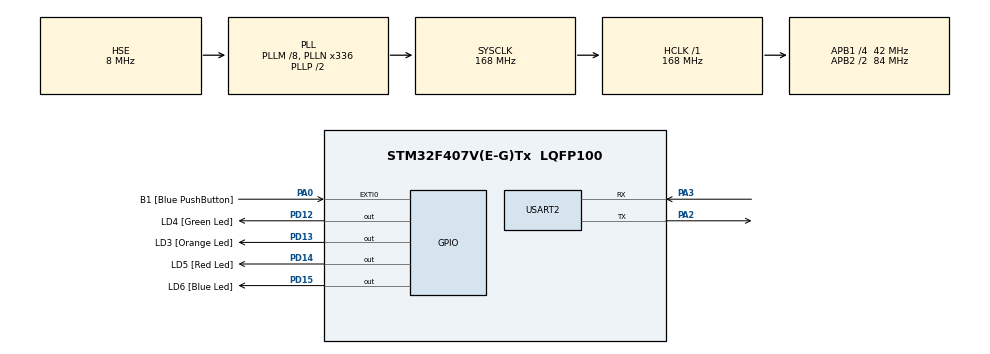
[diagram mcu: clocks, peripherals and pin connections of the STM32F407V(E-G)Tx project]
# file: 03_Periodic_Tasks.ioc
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FREERTOS.Tasks01=defaultTask,24,128,StartDefaultTask,Default,NULL,Dynamic,NULL,NULL
FREERTOS.configCHECK_FOR_STACK_OVERFLOW=2
FREERTOS.configTOTAL_HEAP_SIZE=32768
FREERTOS.configUSE_IDLE_HOOK=0
FREERTOS.configUSE_MALLOC_FAILED_HOOK=1
FREERTOS.configUSE_TICK_HOOK=0
FREERTOS.configUSE_TRACE_FACILITY=1
Mcu.Family=STM32F4
Mcu.Name=STM32F407V(E-G)Tx
Mcu.Package=LQFP100
NVIC.PriorityGroup=NVIC_PRIORITYGROUP_4
NVIC.TIM6_DAC_IRQn=true\:15\:0\:false\:false\:true\:false\:false\:true\:true
NVIC.TimeBase=TIM6_DAC_IRQn
NVIC.TimeBaseIP=TIM6
PA0-WKUP.GPIO_Label=B1 [Blue PushButton]
PA0-WKUP.GPIO_ModeDefaultEXTI=GPIO_MODE_EVT_RISING
PA0-WKUP.GPIO_PuPd=GPIO_NOPULL
PA0-WKUP.Signal=GPXTI0
PA13.GPIO_Label=SWDIO
PA13.Mode=Serial_Wire
PA13.Signal=SYS_JTMS-SWDIO
PA14.GPIO_Label=SWCLK
PA14.Mode=Serial_Wire
PA14.Signal=SYS_JTCK-SWCLK
PA2.Mode=Asynchronous
PA2.Signal=USART2_TX
PA3.Mode=Asynchronous
PA3.Signal=USART2_RX
PB3.GPIO_Label=SWO
PB3.Signal=SYS_JTDO-SWO
PC14-OSC32_IN.GPIO_Label=PC14-OSC32_IN
PC14-OSC32_IN.Mode=LSE-External-Oscillator
PC14-OSC32_IN.Signal=RCC_OSC32_IN
PC15-OSC32_OUT.GPIO_Label=PC15-OSC32_OUT
PC15-OSC32_OUT.Mode=LSE-External-Oscillator
PC15-OSC32_OUT.Signal=RCC_OSC32_OUT
PD12.GPIO_Label=LD4 [Green Led]
PD12.GPIO_PuPd=GPIO_NOPULL
PD12.GPIO_Speed=GPIO_SPEED_FREQ_LOW
PD12.Signal=GPIO_Output
PD13.GPIO_Label=LD3 [Orange Led]
PD13.GPIO_PuPd=GPIO_NOPULL
PD13.GPIO_Speed=GPIO_SPEED_FREQ_LOW
PD13.Signal=GPIO_Output
PD14.GPIO_Label=LD5 [Red Led]
PD14.GPIO_PuPd=GPIO_NOPULL
PD14.GPIO_Speed=GPIO_SPEED_FREQ_LOW
PD14.Signal=GPIO_Output
PD15.GPIO_Label=LD6 [Blue Led]
PD15.GPIO_PuPd=GPIO_NOPULL
PD15.GPIO_Speed=GPIO_SPEED_FREQ_LOW
PD15.Signal=GPIO_Output
PH0-OSC_IN.GPIO_Label=PH0-OSC_IN
PH0-OSC_IN.Mode=HSE-External-Oscillator
PH0-OSC_IN.Signal=RCC_OSC_IN
PH1-OSC_OUT.GPIO_Label=PH1-OSC_OUT
PH1-OSC_OUT.Mode=HSE-External-Oscillator
PH1-OSC_OUT.Signal=RCC_OSC_OUT
ProjectManager.HeapSize=0x200
ProjectManager.StackSize=0x400
ProjectManager.TargetToolchain=STM32CubeIDE
RCC.48MHZClocksFreq_Value=48000000
RCC.AHBFreq_Value=168000000
RCC.APB1CLKDivider=RCC_HCLK_DIV4
RCC.APB1Freq_Value=42000000
RCC.APB1TimFreq_Value=84000000
RCC.APB2CLKDivider=RCC_HCLK_DIV2
RCC.APB2Freq_Value=84000000
RCC.APB2TimFreq_Value=168000000
RCC.CortexFreq_Value=168000000
RCC.HCLKFreq_Value=168000000
RCC.HSE_VALUE=8000000
RCC.HSI_VALUE=16000000
RCC.PLLM=8
RCC.PLLN=336
RCC.PLLQ=7
RCC.PLLSourceVirtual=RCC_PLLSOURCE_HSE
RCC.SYSCLKFreq_VALUE=168000000
RCC.SYSCLKSource=RCC_SYSCLKSOURCE_PLLCLK
RCC.VCOOutputFreq_Value=336000000
USART2.VirtualMode=VM_ASYNC
VP_FREERTOS_VS_CMSIS_V2.Mode=CMSIS_V2
VP_SYS_VS_tim6.Mode=TIM6
board=STM32F407G-DISC1

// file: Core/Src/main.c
/* USER CODE BEGIN Header */
/**
  ******************************************************************************
  * @file           : main.c
  * @brief          : Main program body
  ******************************************************************************
  * @attention
  *
  * Copyright (c) 2026 STMicroelectronics.
  * All rights reserved.
  *
  * This software is licensed under terms that can be found in the LICENSE file
  * in the root directory of this software component.
  * If no LICENSE file comes with this software, it is provided AS-IS.
  *
  ******************************************************************************
  */
/* USER CODE END Header */
#include "main.h"

/* USER CODE BEGIN Includes */
#include "FreeRTOS.h"
#include "task.h"
/* USER CODE END Includes */

UART_HandleTypeDef huart2;

void SystemClock_Config(void);
static void MX_GPIO_Init(void);
static void MX_USART2_UART_Init(void);

/* USER CODE BEGIN PFP */
static void GreenLedTask(void *argument);
static void BlueLedTask(void *argument);
/* USER CODE END PFP */

int main(void)
{

  /* MCU Configuration--------------------------------------------------------*/

  /* Reset of all peripherals, Initializes the Flash interface and the Systick. */
  HAL_Init();

  /* Configure the system clock */
  SystemClock_Config();

  /* Initialize all configured peripherals */
  MX_GPIO_Init();
  MX_USART2_UART_Init();

  /* Create RTOS tasks */
  xTaskCreate(GreenLedTask, "GreenLED", 128, NULL, 2, NULL);

  xTaskCreate(BlueLedTask, "BlueLED", 128, NULL, 2, NULL);

  /* Start FreeRTOS scheduler */
  vTaskStartScheduler();

  /* We should never get here as control is now taken by the scheduler */

  /* Infinite loop */
  while (1)
  {

  }
}

void SystemClock_Config(void)
{
  RCC_OscInitTypeDef RCC_OscInitStruct = {0};
  RCC_ClkInitTypeDef RCC_ClkInitStruct = {0};

  /** Configure the main internal regulator output voltage
  */
  __HAL_RCC_PWR_CLK_ENABLE();
  __HAL_PWR_VOLTAGESCALING_CONFIG(PWR_REGULATOR_VOLTAGE_SCALE1);

  /** Initializes the RCC Oscillators according to the specified parameters
  * in the RCC_OscInitTypeDef structure.
  */
  RCC_OscInitStruct.OscillatorType = RCC_OSCILLATORTYPE_HSE;
  RCC_OscInitStruct.HSEState = RCC_HSE_ON;
  RCC_OscInitStruct.PLL.PLLState = RCC_PLL_ON;
  RCC_OscInitStruct.PLL.PLLSource = RCC_PLLSOURCE_HSE;
  RCC_OscInitStruct.PLL.PLLM = 8;
  RCC_OscInitStruct.PLL.PLLN = 336;
  RCC_OscInitStruct.PLL.PLLP = RCC_PLLP_DIV2;
  RCC_OscInitStruct.PLL.PLLQ = 7;
  if (HAL_RCC_OscConfig(&RCC_OscInitStruct) != HAL_OK)
  {
    Error_Handler();
  }

  /** Initializes the CPU, AHB and APB buses clocks
  */
  RCC_ClkInitStruct.ClockType = RCC_CLOCKTYPE_HCLK|RCC_CLOCKTYPE_SYSCLK
                              |RCC_CLOCKTYPE_PCLK1|RCC_CLOCKTYPE_PCLK2;
  RCC_ClkInitStruct.SYSCLKSource = RCC_SYSCLKSOURCE_PLLCLK;
  RCC_ClkInitStruct.AHBCLKDivider = RCC_SYSCLK_DIV1;
  RCC_ClkInitStruct.APB1CLKDivider = RCC_HCLK_DIV4;
  RCC_ClkInitStruct.APB2CLKDivider = RCC_HCLK_DIV2;

  if (HAL_RCC_ClockConfig(&RCC_ClkInitStruct, FLASH_LATENCY_5) != HAL_OK)
  {
    Error_Handler();
  }
}

static void MX_USART2_UART_Init(void)
{

  huart2.Instance = USART2;
  huart2.Init.BaudRate = 115200;
  huart2.Init.WordLength = UART_WORDLENGTH_8B;
  huart2.Init.StopBits = UART_STOPBITS_1;
  huart2.Init.Parity = UART_PARITY_NONE;
  huart2.Init.Mode = UART_MODE_TX_RX;
  huart2.Init.HwFlowCtl = UART_HWCONTROL_NONE;
  huart2.Init.OverSampling = UART_OVERSAMPLING_16;
  if (HAL_UART_Init(&huart2) != HAL_OK)
  {
    Error_Handler();
  }

}

static void MX_GPIO_Init(void)
{
  GPIO_InitTypeDef GPIO_InitStruct = {0};

  /* GPIO Ports Clock Enable */
  __HAL_RCC_GPIOC_CLK_ENABLE();
  __HAL_RCC_GPIOH_CLK_ENABLE();
  __HAL_RCC_GPIOA_CLK_ENABLE();
  __HAL_RCC_GPIOD_CLK_ENABLE();
  __HAL_RCC_GPIOB_CLK_ENABLE();

  /*Configure GPIO pin Output Level */
  HAL_GPIO_WritePin(GPIOD, LD4_Pin|LD3_Pin|LD5_Pin|LD6_Pin, GPIO_PIN_RESET);

  /*Configure GPIO pin : B1_Pin */
  GPIO_InitStruct.Pin = B1_Pin;
  GPIO_InitStruct.Mode = GPIO_MODE_EVT_RISING;
  GPIO_InitStruct.Pull = GPIO_NOPULL;
  HAL_GPIO_Init(B1_GPIO_Port, &GPIO_InitStruct);

  /*Configure GPIO pins : LD4_Pin LD3_Pin LD5_Pin LD6_Pin */
  GPIO_InitStruct.Pin = LD4_Pin|LD3_Pin|LD5_Pin|LD6_Pin;
  GPIO_InitStruct.Mode = GPIO_MODE_OUTPUT_PP;
  GPIO_InitStruct.Pull = GPIO_NOPULL;
  GPIO_InitStruct.Speed = GPIO_SPEED_FREQ_LOW;
  HAL_GPIO_Init(GPIOD, &GPIO_InitStruct);

}

/* USER CODE BEGIN 4 */
static void GreenLedTask(void *argument)
{
    TickType_t xLastWakeTime;
    const TickType_t xPeriod = pdMS_TO_TICKS(500);

    xLastWakeTime = xTaskGetTickCount();

    for (;;)
    {
        HAL_GPIO_TogglePin(GPIOD, LD4_Pin);

        vTaskDelayUntil(&xLastWakeTime, xPeriod);
    }
}

static void BlueLedTask(void *argument)
{
    TickType_t xLastWakeTime;
    const TickType_t xPeriod = pdMS_TO_TICKS(1000);

    xLastWakeTime = xTaskGetTickCount();

    for (;;)
    {
        HAL_GPIO_TogglePin(GPIOD, LD6_Pin);

        vTaskDelayUntil(&xLastWakeTime, xPeriod);
    }
}
/* USER CODE END 4 */

void HAL_TIM_PeriodElapsedCallback(TIM_HandleTypeDef *htim)
{
  if (htim->Instance == TIM6)
  {
    HAL_IncTick();
  }
}

void Error_Handler(void)
{
  __disable_irq();
  while (1)
  {
  }
}
